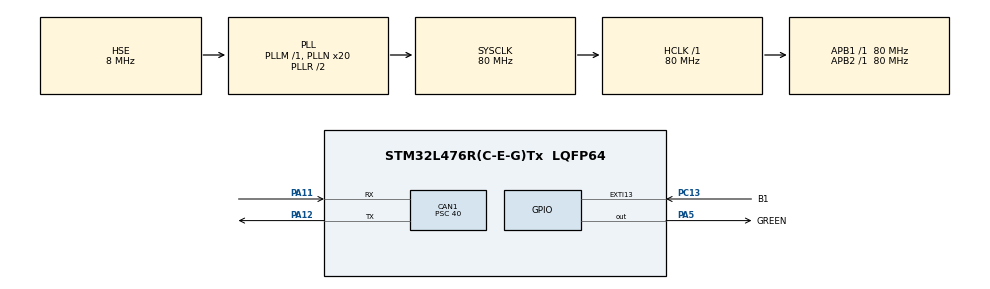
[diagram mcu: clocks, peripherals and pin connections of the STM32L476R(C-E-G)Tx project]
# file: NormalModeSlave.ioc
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CAN1.BS1=CAN_BS1_13TQ
CAN1.BS2=CAN_BS2_2TQ
CAN1.CalculateBaudRate=125000
CAN1.CalculateTimeBit=8000
CAN1.CalculateTimeQuantum=500.0
CAN1.Prescaler=40
Mcu.Family=STM32L4
Mcu.Name=STM32L476R(C-E-G)Tx
Mcu.Package=LQFP64
NVIC.CAN1_RX1_IRQn=true\:0\:0\:false\:false\:true\:true\:true\:true
NVIC.EXTI15_10_IRQn=true\:0\:0\:false\:false\:true\:true\:true\:true
NVIC.PriorityGroup=NVIC_PRIORITYGROUP_4
PA11.GPIO_Mode=GPIO_MODE_AF_PP
PA11.GPIO_PuPd=GPIO_NOPULL
PA11.Mode=CAN_Activate
PA11.Signal=CAN1_RX
PA12.Mode=CAN_Activate
PA12.Signal=CAN1_TX
PA13\ (JTMS-SWDIO).GPIO_Label=TMS
PA13\ (JTMS-SWDIO).Mode=Serial_Wire
PA13\ (JTMS-SWDIO).Signal=SYS_JTMS-SWDIO
PA14\ (JTCK-SWCLK).GPIO_Label=TCK
PA14\ (JTCK-SWCLK).Mode=Serial_Wire
PA14\ (JTCK-SWCLK).Signal=SYS_JTCK-SWCLK
PA2.GPIO_Label=USART_TX
PA2.GPIO_Mode=GPIO_MODE_AF_PP
PA2.GPIO_PuPd=GPIO_NOPULL
PA2.GPIO_Speed=GPIO_SPEED_FREQ_VERY_HIGH
PA2.Signal=USART2_TX
PA3.GPIO_Label=USART_RX
PA3.GPIO_Mode=GPIO_MODE_AF_PP
PA3.GPIO_PuPd=GPIO_NOPULL
PA3.GPIO_Speed=GPIO_SPEED_FREQ_VERY_HIGH
PA3.Signal=USART2_RX
PA5.GPIO_Label=GREEN
PA5.GPIO_ModeDefaultOutputPP=GPIO_MODE_OUTPUT_PP
PA5.GPIO_PuPd=GPIO_NOPULL
PA5.GPIO_Speed=GPIO_SPEED_FREQ_LOW
PA5.Signal=GPIO_Output
PB3\ (JTDO-TRACESWO).GPIO_Label=SWO
PB3\ (JTDO-TRACESWO).Signal=SYS_JTDO-SWO
PC13.GPIO_Label=B1
PC13.GPIO_ModeDefaultEXTI=GPIO_MODE_IT_FALLING
PC13.GPIO_PuPd=GPIO_NOPULL
PC13.Signal=GPXTI13
PC14-OSC32_IN\ (PC14).Signal=RCC_OSC32_IN
PC15-OSC32_OUT\ (PC15).Signal=RCC_OSC32_OUT
PH0-OSC_IN\ (PH0).Mode=HSE-External-Clock-Source
PH0-OSC_IN\ (PH0).Signal=RCC_OSC_IN
PH1-OSC_OUT\ (PH1).Signal=RCC_OSC_OUT
ProjectManager.HeapSize=0x200
ProjectManager.StackSize=0x400
ProjectManager.TargetToolchain=STM32CubeIDE
RCC.ADCFreq_Value=32000000
RCC.AHBFreq_Value=80000000
RCC.APB1Freq_Value=80000000
RCC.APB1TimFreq_Value=80000000
RCC.APB2Freq_Value=80000000
RCC.APB2TimFreq_Value=80000000
RCC.CortexFreq_Value=80000000
RCC.HCLKFreq_Value=80000000
RCC.HSE_VALUE=8000000
RCC.HSI_VALUE=16000000
RCC.LSE_VALUE=32768
RCC.MSI_VALUE=4000000
RCC.PLLN=20
RCC.PLLSourceVirtual=RCC_PLLSOURCE_HSE
RCC.PREFETCH_ENABLE=1
RCC.SYSCLKFreq_VALUE=80000000
RCC.SYSCLKSource=RCC_SYSCLKSOURCE_PLLCLK
RCC.USBFreq_Value=32000000
RCC.VCOOutputFreq_Value=160000000
board=NUCLEO-L476RG

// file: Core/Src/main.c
/* USER CODE BEGIN Header */
/**
  ******************************************************************************
  * @file           : main.c
  * @brief          : Main program body
  ******************************************************************************
  * @attention
  *
  * Copyright (c) 2023 STMicroelectronics.
  * All rights reserved.
  *
  * This software is licensed under terms that can be found in the LICENSE file
  * in the root directory of this software component.
  * If no LICENSE file comes with this software, it is provided AS-IS.
  *
  ******************************************************************************
  */
/* USER CODE END Header */
#include "main.h"

CAN_HandleTypeDef hcan1;

void SystemClock_Config(void);
static void MX_GPIO_Init(void);
static void MX_CAN1_Init(void);

/* USER CODE BEGIN 0 */
CAN_TxHeaderTypeDef TxHeader;
CAN_RxHeaderTypeDef RxHeader;

uint8_t TxData[8];
uint8_t RxData[8];

uint32_t TxMailbox;

int datacheck = 0;

void HAL_CAN_RxFifo1MsgPendingCallback(CAN_HandleTypeDef *hcan)
{
	HAL_CAN_GetRxMessage(hcan, CAN_RX_FIFO1, &RxHeader, RxData);
	if(RxHeader.DLC == 2)
	{
		datacheck = 1;
	}
}
/* USER CODE END 0 */

int main(void)
{

  /* MCU Configuration--------------------------------------------------------*/

  /* Reset of all peripherals, Initializes the Flash interface and the Systick. */
  HAL_Init();

  /* Configure the system clock */
  SystemClock_Config();

  /* Initialize all configured peripherals */
  MX_GPIO_Init();
  MX_CAN1_Init();
  /* USER CODE BEGIN 2 */

	HAL_CAN_Start(&hcan1);

	HAL_CAN_ActivateNotification(&hcan1, CAN_IT_RX_FIFO1_MSG_PENDING);

	TxHeader.DLC = 2;  //data length
	TxHeader.IDE = CAN_ID_STD;
	TxHeader.RTR = CAN_RTR_DATA;
	TxHeader.StdId = 0x103; // ID

	TxData[0] = 50;
	TxData[1] = 20;

  /* USER CODE END 2 */

  /* Infinite loop */
  while (1)
  {

    /* USER CODE BEGIN 3 */

	  if(datacheck){
	  	for (int i=0; i<RxData[1];i++){
	  		  HAL_GPIO_TogglePin(GREEN_GPIO_Port, GREEN_Pin);
	  		  HAL_Delay(RxData[0]);
	  	}
	  	datacheck=0;
		HAL_CAN_AddTxMessage(&hcan1, &TxHeader, TxData, &TxMailbox);
	  }
  }

  /* USER CODE END 3 */
}

void SystemClock_Config(void)
{
  RCC_OscInitTypeDef RCC_OscInitStruct = {0};
  RCC_ClkInitTypeDef RCC_ClkInitStruct = {0};

  /** Configure the main internal regulator output voltage
  */
  if (HAL_PWREx_ControlVoltageScaling(PWR_REGULATOR_VOLTAGE_SCALE1) != HAL_OK)
  {
    Error_Handler();
  }

  /** Initializes the RCC Oscillators according to the specified parameters
  * in the RCC_OscInitTypeDef structure.
  */
  RCC_OscInitStruct.OscillatorType = RCC_OSCILLATORTYPE_HSE;
  RCC_OscInitStruct.HSEState = RCC_HSE_BYPASS;
  RCC_OscInitStruct.PLL.PLLState = RCC_PLL_ON;
  RCC_OscInitStruct.PLL.PLLSource = RCC_PLLSOURCE_HSE;
  RCC_OscInitStruct.PLL.PLLM = 1;
  RCC_OscInitStruct.PLL.PLLN = 20;
  RCC_OscInitStruct.PLL.PLLP = RCC_PLLP_DIV7;
  RCC_OscInitStruct.PLL.PLLQ = RCC_PLLQ_DIV2;
  RCC_OscInitStruct.PLL.PLLR = RCC_PLLR_DIV2;
  if (HAL_RCC_OscConfig(&RCC_OscInitStruct) != HAL_OK)
  {
    Error_Handler();
  }

  /** Initializes the CPU, AHB and APB buses clocks
  */
  RCC_ClkInitStruct.ClockType = RCC_CLOCKTYPE_HCLK|RCC_CLOCKTYPE_SYSCLK
                              |RCC_CLOCKTYPE_PCLK1|RCC_CLOCKTYPE_PCLK2;
  RCC_ClkInitStruct.SYSCLKSource = RCC_SYSCLKSOURCE_PLLCLK;
  RCC_ClkInitStruct.AHBCLKDivider = RCC_SYSCLK_DIV1;
  RCC_ClkInitStruct.APB1CLKDivider = RCC_HCLK_DIV1;
  RCC_ClkInitStruct.APB2CLKDivider = RCC_HCLK_DIV1;

  if (HAL_RCC_ClockConfig(&RCC_ClkInitStruct, FLASH_LATENCY_4) != HAL_OK)
  {
    Error_Handler();
  }
}

static void MX_CAN1_Init(void)
{

  hcan1.Instance = CAN1;
  hcan1.Init.Prescaler = 40;
  hcan1.Init.Mode = CAN_MODE_NORMAL;
  hcan1.Init.SyncJumpWidth = CAN_SJW_1TQ;
  hcan1.Init.TimeSeg1 = CAN_BS1_13TQ;
  hcan1.Init.TimeSeg2 = CAN_BS2_2TQ;
  hcan1.Init.TimeTriggeredMode = DISABLE;
  hcan1.Init.AutoBusOff = DISABLE;
  hcan1.Init.AutoWakeUp = DISABLE;
  hcan1.Init.AutoRetransmission = DISABLE;
  hcan1.Init.ReceiveFifoLocked = DISABLE;
  hcan1.Init.TransmitFifoPriority = DISABLE;
  if (HAL_CAN_Init(&hcan1) != HAL_OK)
  {
    Error_Handler();
  }
  /* USER CODE BEGIN CAN1_Init 2 */

  CAN_FilterTypeDef canfilterconfig;

  canfilterconfig.FilterActivation = CAN_FILTER_ENABLE;
  canfilterconfig.FilterBank =1;
  canfilterconfig.FilterFIFOAssignment = CAN_FILTER_FIFO1;
  canfilterconfig.FilterIdHigh = 0x0000;
  canfilterconfig.FilterIdLow = 0;

  canfilterconfig.FilterMaskIdHigh = 0x0000;
  canfilterconfig.FilterMaskIdLow = 0;
  canfilterconfig.FilterMode = CAN_FILTERMODE_IDMASK;
  canfilterconfig.FilterScale = CAN_FILTERSCALE_32BIT;
  canfilterconfig.SlaveStartFilterBank = 0;

  HAL_CAN_ConfigFilter(&hcan1, &canfilterconfig);

  /* USER CODE END CAN1_Init 2 */

}

static void MX_GPIO_Init(void)
{
  GPIO_InitTypeDef GPIO_InitStruct = {0};

  /* GPIO Ports Clock Enable */
  __HAL_RCC_GPIOC_CLK_ENABLE();
  __HAL_RCC_GPIOH_CLK_ENABLE();
  __HAL_RCC_GPIOA_CLK_ENABLE();
  __HAL_RCC_GPIOB_CLK_ENABLE();

  /*Configure GPIO pin Output Level */
  HAL_GPIO_WritePin(GREEN_GPIO_Port, GREEN_Pin, GPIO_PIN_RESET);

  /*Configure GPIO pin : B1_Pin */
  GPIO_InitStruct.Pin = B1_Pin;
  GPIO_InitStruct.Mode = GPIO_MODE_IT_FALLING;
  GPIO_InitStruct.Pull = GPIO_NOPULL;
  HAL_GPIO_Init(B1_GPIO_Port, &GPIO_InitStruct);

  /*Configure GPIO pins : USART_TX_Pin USART_RX_Pin */
  GPIO_InitStruct.Pin = USART_TX_Pin|USART_RX_Pin;
  GPIO_InitStruct.Mode = GPIO_MODE_AF_PP;
  GPIO_InitStruct.Pull = GPIO_NOPULL;
  GPIO_InitStruct.Speed = GPIO_SPEED_FREQ_VERY_HIGH;
  GPIO_InitStruct.Alternate = GPIO_AF7_USART2;
  HAL_GPIO_Init(GPIOA, &GPIO_InitStruct);

  /*Configure GPIO pin : GREEN_Pin */
  GPIO_InitStruct.Pin = GREEN_Pin;
  GPIO_InitStruct.Mode = GPIO_MODE_OUTPUT_PP;
  GPIO_InitStruct.Pull = GPIO_NOPULL;
  GPIO_InitStruct.Speed = GPIO_SPEED_FREQ_LOW;
  HAL_GPIO_Init(GREEN_GPIO_Port, &GPIO_InitStruct);

  /* EXTI interrupt init*/
  HAL_NVIC_SetPriority(EXTI15_10_IRQn, 0, 0);
  HAL_NVIC_EnableIRQ(EXTI15_10_IRQn);

}

void Error_Handler(void)
{
  __disable_irq();
  while (1)
  {
  }
}
